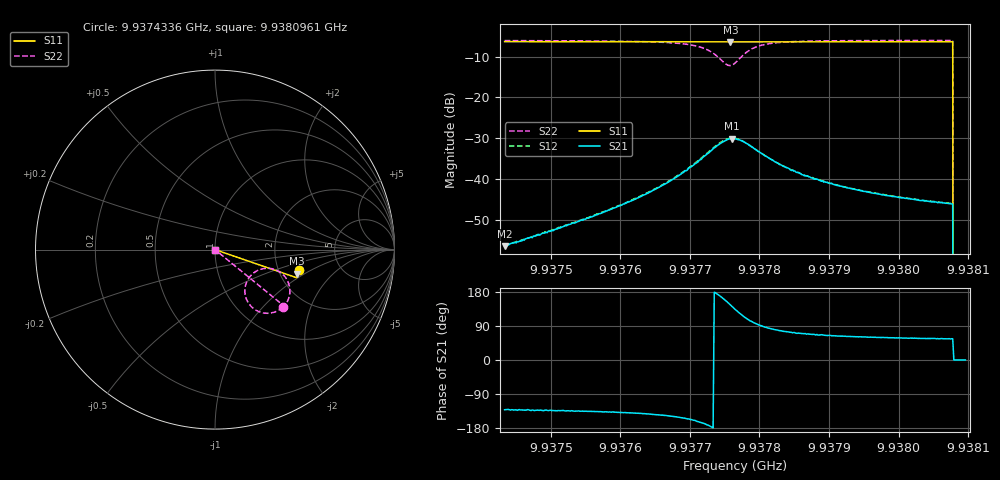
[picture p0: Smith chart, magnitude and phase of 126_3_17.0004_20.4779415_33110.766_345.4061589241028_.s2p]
#  HZ  S  RI  R  50.00
! Rohde & Schwarz Vector Network Analyzer
! Rohde-Schwarz,ZNB20-2Port,1311601062101988,3.16
! Created: UTC 3/20/2024, 10:57:45 PM
! freq[Hz]  re:S11  im:S11  re:S21  im:S21  re:S12  im:S12  re:S22  im:S22
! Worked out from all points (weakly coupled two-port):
!   401 points, 9.9374336 GHz to 9.9380961 GHz, reference 50 ohm
!   highest |S21| = -30.06 dB at 9.9377599 GHz (marker M1); lowest = -56.4 dB at 9.9374336 GHz (marker M2)
!   lowest |S11| = -6.4 dB at 9.9377582 GHz (marker M3), VSWR 2.83, Z = 124 - j43.3 ohm
!   |S11| at or under -10 dB: 9.9380779 GHz to end of sweep
!   |S22| runs from - to -6.0 dB; largest |S21 - S12| = 0.0015
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9.93743365e9  0.4689 -0.1151  -0.001 -0.00114  -0.00103 -0.00116  0.3793 -0.3206
9.9375446e9  0.4664 -0.1227  -0.00224 -0.00224  -0.00228 -0.00225  0.3628 -0.3332
9.93761581e9  0.4647 -0.1275  -0.00413 -0.00351  -0.00426 -0.00351  0.3422 -0.3445
9.93765556e9  0.4635 -0.1302  -0.00649 -0.00458  -0.0067 -0.00455  0.32 -0.3517
9.93769034e9  0.4623 -0.1328  -0.0107 -0.00546  -0.0111 -0.00538  0.2829 -0.3546
9.9377218e9  0.4606 -0.1348  -0.019 -0.00389  -0.0197 -0.00348  0.2167 -0.33
9.93773339e9  0.4596 -0.1352  -0.0235 -0.000363  -0.0241 0.000294  0.1852 -0.2958
9.93774333e9  0.4588 -0.1352  -0.0267 0.00525  -0.0273 0.00625  0.1673 -0.2448
9.93775161e9  0.4584 -0.1351  -0.0273 0.0119  -0.0276 0.0133  0.1728 -0.1901
9.93775823e9  0.4584 -0.1348  -0.0257 0.0177  -0.0254 0.0192  0.1971 -0.1475
9.93775989e9  0.4584 -0.1347  -0.0249 0.0191  -0.0245 0.0205  0.2056 -0.1386
9.93776486e9  0.4586 -0.1345  -0.0215 0.0225  -0.0211 0.0235  0.2359 -0.117
9.93777314e9  0.4591 -0.1346  -0.0155 0.0255  -0.0145 0.0264  0.2917 -0.1041
9.93778307e9  0.4598 -0.1351  -0.00816 0.0257  -0.00724 0.0259  0.3469 -0.117
9.93780129e9  0.4602 -0.1367  -0.000403 0.0212  0.000245 0.0211  0.3991 -0.1645
9.9378311e9  0.4603 -0.1391  0.00331 0.0146  0.00368 0.0145  0.4173 -0.2225
9.93787581e9  0.4593 -0.1428  0.00397 0.00959  0.00402 0.00966  0.4127 -0.2645
9.93793046e9  0.4581 -0.1466  0.00363 0.00681  0.00379 0.00677  0.4034 -0.2881
9.93798677e9  0.4566 -0.1503  0.00323 0.00534  0.00338 0.00534  0.3957 -0.302
9.93807454e9  0.4543 -0.1563  0.00286 0.00415  0.00292 0.00413  0.3862 -0.3151
9.93808282e9  0 0  0 0  0 0  0 0
9.93809607e9  0 0  0 0  0 0  0 0
